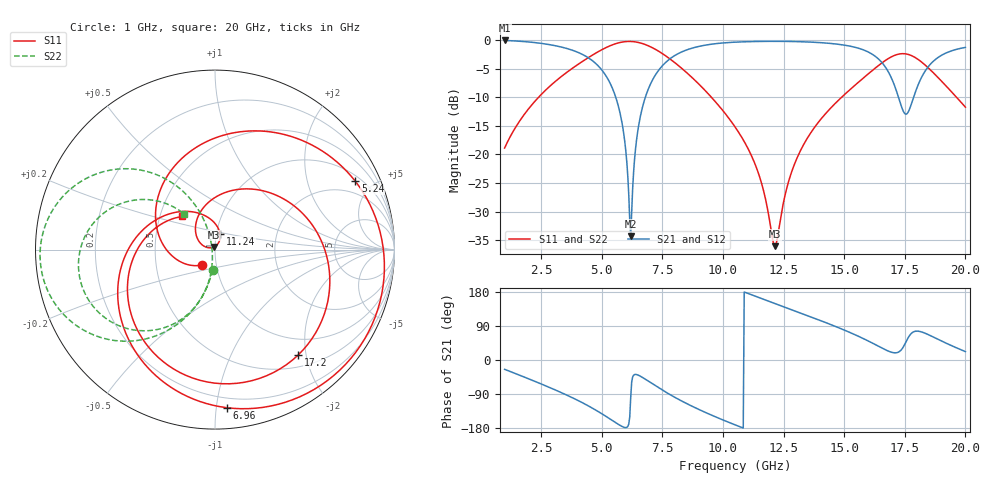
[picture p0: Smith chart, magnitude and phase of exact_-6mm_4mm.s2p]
! Touchstone file from project TestMultiLine
! Exported from HFSS 14.0.0
! Variables:
!  gap = 8mm
!  hair = 35mm
!  hsub = 0.762mm
!  l = 36mm
!  lair = 50mm
!  lmic = 14mm
!  w = 25mm
!  wair = 40mm
!  wmic = 2.1mm
!  wp = 1mm
!Data is not renormalized
# GHZ S MA
! Modal data exported
! Port[1] = 1:1
! Port[2] = 2:1
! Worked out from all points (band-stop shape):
!   476 points, 1 GHz to 20 GHz, reference per port
!   highest |S21| = -0.08 dB at 1 GHz (marker M1); lowest = -34.2 dB at 6.2 GHz (marker M2)
!   |S21| within 3 dB of the highest: start of sweep to 4.442 GHz; 7.885 GHz to 16.35 GHz (8.467 GHz wide, 69.9 % of centre)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
!   lowest |S11| = -36.0 dB at 12.16 GHz (marker M3), VSWR 1.03
!   |S11| at or under -10 dB: start of sweep to 2.402 GHz; 9.526 GHz to 14.9 GHz (5.37 GHz wide, 44 % of centre); 19.63 GHz to end of sweep
!   |S22| runs from -35.8 to -0.2 dB; largest |S21 - S12| = 3e-11
!   S11 on the Smith chart (normalised r, x): 1 GHz: 0.85, -0.15; 5.24 GHz: 1.27, +3.96; 6.96 GHz: 0.13, -1.07; 11.24 GHz: 1.04, +0.18; 17.2 GHz: 0.69, -1.85; 20 GHz: 0.65, +0.26
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1  0.1139 -131.2  0.9904 -24.6  0.9904 -24.6  0.1141 -96.8
2.92  0.4044 144.4  0.9053 -74.3  0.9053 -74.3  0.4053 -113.0
4.2  0.6478 83.6  0.7495 -112.5  0.7495 -112.5  0.65 -129.3
5.24  0.8696 26.0  0.4633 -151.2  0.4633 -151.2  0.8732 -150.3
5.84  0.9582 -12.2  0.1893 -175.3  0.1893 -175.3  0.9624 -167.1
6.2  0.9706 -36.1  0.01948 -98.5  0.01948 -98.5  0.9751 -178.2
6.52  0.9508 -57.4  0.1754 -40.3  0.1754 -40.3  0.9553 172.0
6.96  0.8832 -85.8  0.3882 -57.2  0.3882 -57.2  0.8875 159.3
7.36  0.7955 -110.2  0.5469 -73.6  0.5469 -73.6  0.7996 149.0
8.04  0.6284 -148.4  0.7364 -99.2  0.7364 -99.2  0.6318 134.9
8.96  0.4218 165.9  0.8736 -129.0  0.8736 -129.0  0.4243 121.7
10.52  0.1719 98.5  0.9574 -171.6  0.9574 -171.6  0.1732 110.5
11.24  0.09125 72.1  0.9689 170.7  0.9689 170.7  0.09216 110.7
12.16  0.01583 118.3  0.9732 148.8  0.9732 148.8  0.01626 -170.7
12.8  0.06697 162.0  0.9703 133.6  0.9703 133.6  0.06721 -102.8
13.68  0.161 132.6  0.9571 112.6  0.9571 112.6  0.162 -100.5
15.64  0.4367 47.0  0.841 61.1  0.841 61.1  0.4414 -116.5
16.84  0.6918 -24.8  0.5186 23.0  0.5186 23.0  0.7008 -144.5
17.2  0.7482 -51.9  0.3367 19.8  0.3367 19.8  0.7583 -158.3
17.72  0.7388 -93.4  0.2564 66.6  0.2564 66.6  0.7492 179.5
18.36  0.5989 -140.1  0.5431 70.1  0.5431 70.1  0.6076 156.5
20  0.2592 134.6  0.8611 22.1  0.8611 22.1  0.2623 130.8
